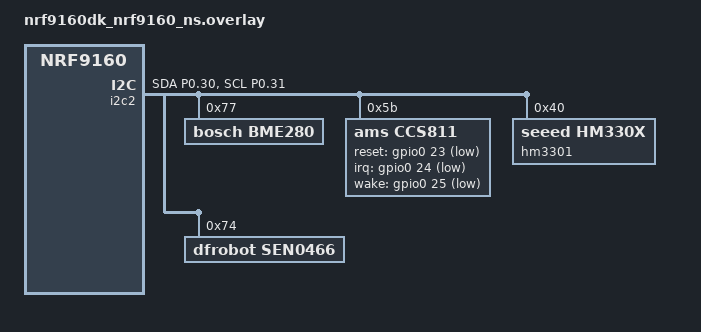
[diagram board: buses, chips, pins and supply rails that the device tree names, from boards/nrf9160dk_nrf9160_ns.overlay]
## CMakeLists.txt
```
#
# Copyright (c) 2024 Nordic Semiconductor ASA
#
# SPDX-License-Identifier: LicenseRef-Nordic-5-Clause
#

cmake_minimum_required(VERSION 3.20.0)

find_package(Zephyr REQUIRED HINTS $ENV{ZEPHYR_BASE})
project("Asset Tracker Template")

# Include files that are common for all modules
target_include_directories(app PRIVATE src/common)

zephyr_include_directories(config)

# Add main application source
target_sources(app PRIVATE src/main.c)

# Module source folders
add_subdirectory(src/modules/network)
add_subdirectory(src/cbor)

# Optional modules
add_subdirectory_ifdef(CONFIG_APP_POWER src/modules/power)
add_subdirectory_ifdef(CONFIG_APP_ENVIRONMENTAL src/modules/environmental)
add_subdirectory_ifdef(CONFIG_APP_LED src/modules/led)
add_subdirectory_ifdef(CONFIG_APP_LOCATION src/modules/location)
add_subdirectory_ifdef(CONFIG_APP_CLOUD src/modules/cloud)
```

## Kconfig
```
#
# Copyright (c) 2024 Nordic Semiconductor ASA
#
# SPDX-License-Identifier: LicenseRef-Nordic-5-Clause
#

menu "Asset Tracker Template"

rsource "src/Kconfig.main"
rsource "src/modules/network/Kconfig.network"
rsource "src/modules/cloud/Kconfig.cloud"
rsource "src/modules/location/Kconfig.location"
rsource "src/modules/environmental/Kconfig.environmental"

endmenu

menu "Zephyr Kernel"
source "Kconfig.zephyr"
endmenu
```

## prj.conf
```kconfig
#
# Copyright (c) 2024 Nordic Semiconductor ASA
#
# SPDX-License-Identifier: LicenseRef-Nordic-5-Clause
#

CONFIG_LOG=y
CONFIG_RESET_ON_FATAL_ERROR=y
CONFIG_LOG_MODE_DEFERRED=y
CONFIG_LOG_BUFFER_SIZE=4096
CONFIG_LOG_PROCESS_THREAD_STACK_SIZE=1280
CONFIG_DK_LIBRARY=y
CONFIG_ZVFS_OPEN_MAX=10

# Enable I2C and sensor subsystem for multiple sensors
CONFIG_SENSOR=y
CONFIG_I2C=y
CONFIG_BME280=y
CONFIG_CCS811=y
# CONFIG_CCS811_ENV_COMPENSATION=y
CONFIG_HM330X=y
CONFIG_SEN0466=y

# TFM logging over uart0
CONFIG_TFM_LOG_LEVEL_SILENCE=n
CONFIG_TFM_SECURE_UART0=y
CONFIG_TFM_SECURE_UART_SHARE_INSTANCE=y
CONFIG_TFM_EXCEPTION_INFO_DUMP=y
CONFIG_TFM_SPM_LOG_LEVEL_DEBUG=y

# Heap and stacks
CONFIG_MAIN_STACK_SIZE=2560
# Extended AT host/monitor stack/heap sizes since some nrf_cloud credentials are longer than 1024 bytes.
CONFIG_AT_MONITOR_HEAP_SIZE=2176
CONFIG_HEAP_MEM_POOL_SIZE=10000
CONFIG_HEAP_MEM_POOL_IGNORE_MIN=y
CONFIG_SYSTEM_WORKQUEUE_STACK_SIZE=1280

# Enable Networking and Connection Manager.
CONFIG_NETWORKING=y
CONFIG_NET_SOCKETS=y
CONFIG_NET_SOCKETS_OFFLOAD=y
CONFIG_POSIX_API=y

# Enable LTE Connectivity using Connection Manager
CONFIG_NET_IPV4=y
CONFIG_NET_IPV6=y
CONFIG_NET_IPV6_NBR_CACHE=n
CONFIG_NET_IPV6_MLD=n
CONFIG_NET_CONNECTION_MANAGER=y
CONFIG_NET_CONNECTION_MANAGER_MONITOR_STACK_SIZE=512
CONFIG_NRF_MODEM_LIB_NET_IF=y
CONFIG_NRF_MODEM_LIB_NET_IF_AUTO_DOWN=y
CONFIG_NRF_MODEM_LIB_NET_IF_DOWN_DEFAULT_LTE_DISCONNECT=y

# Enable Link Controller modules
CONFIG_LTE_LC_PSM_MODULE=y
CONFIG_LTE_LC_EDRX_MODULE=y
CONFIG_LTE_LC_CONN_EVAL_MODULE=y

# Enable PSM (Power Saving Mode)
CONFIG_LTE_LC_WORKQUEUE_STACK_SIZE=768
CONFIG_LTE_PSM_REQ=y
CONFIG_LTE_PROPRIETARY_PSM_REQ=y
CONFIG_LTE_PSM_REQ_FORMAT_SECONDS=y
# Set Requested TAU to a large value. If the network does not support this value,
# it will typically use the largest supported value. This value should be larger
# than the default update interval (1 hour).
CONFIG_LTE_PSM_REQ_RPTAU_SECONDS=7200

# Set the PSM Requested Active Time to a low number. Since we are constantly polling for
# downlink data, there is no need for prolonged active paging after the RRC connection release.
CONFIG_LTE_PSM_REQ_RAT_SECONDS=6

# Enable eDRX (Extended Discontinuous Reception)
CONFIG_LTE_EDRX_REQ=y
# "0000" is 5.12 s
CONFIG_LTE_EDRX_REQ_VALUE_LTE_M="0000"
CONFIG_LTE_EDRX_REQ_VALUE_NBIOT="0000"

# Modem library
CONFIG_NRF_MODEM_LIB=y

# AT commands interface
CONFIG_UART_INTERRUPT_DRIVEN=y
CONFIG_SHELL=y
CONFIG_SHELL_WILDCARD=n
CONFIG_SHELL_STACK_SIZE=2048
CONFIG_SHELL_CMD_BUFF_SIZE=2048
CONFIG_SHELL_BACKEND_SERIAL_RX_RING_BUFFER_SIZE=2048
CONFIG_AT_SHELL=y
CONFIG_LTE_SHELL=n

# nRF Cloud
CONFIG_NRF_CLOUD=y
CONFIG_NRF_CLOUD_COAP=y
CONFIG_NRF_CLOUD_COAP_DISCONNECT_ON_FAILED_REQUEST=y
CONFIG_MODEM_JWT=y
CONFIG_NRF_CLOUD_PRINT_DETAILS=n
CONFIG_NRF_CLOUD_COAP_DOWNLOADS=y

# Downloader support (required by NRF_CLOUD_COAP_DOWNLOADS)
CONFIG_DOWNLOADER=y

# On initial connection to the cloud, add info sections to the shadow
CONFIG_MODEM_INFO=y
CONFIG_MODEM_INFO_ADD_DEVICE=y
CONFIG_NRF_CLOUD_SEND_DEVICE_STATUS=y
CONFIG_NRF_CLOUD_SEND_DEVICE_STATUS_NETWORK=y
CONFIG_NRF_CLOUD_SEND_DEVICE_STATUS_SIM=y

# Date Time lib - Used by PGPS and main application
CONFIG_DATE_TIME=y
CONFIG_DATE_TIME_THREAD_STACK_SIZE=576

# Credentials
CONFIG_NRF_CLOUD_CLIENT_ID_SRC_IMEI=y       # Use IMEI for Client ID as INTERNAL_UUID requires nRF91x1
CONFIG_NRF_CLOUD_CHECK_CREDENTIALS=y
CONFIG_NRF_CLOUD_CREDENTIALS_MGMT_MODEM=y

# COAP client
CONFIG_COAP_MAX_RETRANSMIT=5
CONFIG_COAP_INIT_ACK_TIMEOUT_MS=5000
# Set CoAP therad to same priority as other modules
CONFIG_COAP_CLIENT_THREAD_PRIORITY=14
CONFIG_COAP_CLIENT_BLOCK_SIZE=1024
CONFIG_COAP_CLIENT_MESSAGE_SIZE=1024
CONFIG_COAP_CLIENT_STACK_SIZE=1280
CONFIG_COAP_EXTENDED_OPTIONS_LEN_VALUE=192

# needed for processing floats
CONFIG_PICOLIBC=y
CONFIG_FPU=y

# Zbus
CONFIG_ZBUS=y
CONFIG_ZBUS_MSG_SUBSCRIBER=y
CONFIG_ZBUS_MSG_SUBSCRIBER_NET_BUF_POOL_SIZE=64
CONFIG_ZBUS_CHANNEL_NAME=y

# Zephyr State Machine Framework
CONFIG_SMF=y
CONFIG_SMF_ANCESTOR_SUPPORT=y
CONFIG_SMF_INITIAL_TRANSITION=y

# Location
CONFIG_LOCATION=y
CONFIG_LOCATION_DATA_DETAILS=y
CONFIG_LOCATION_METHOD_GNSS=y
CONFIG_LOCATION_METHOD_CELLULAR=y
CONFIG_LOCATION_SERVICE_EXTERNAL=y
CONFIG_LOCATION_REQUEST_DEFAULT_GNSS_TIMEOUT=60000
CONFIG_LOCATION_REQUEST_DEFAULT_CELLULAR_TIMEOUT=30000
CONFIG_LOCATION_REQUEST_DEFAULT_TIMEOUT=120000
CONFIG_LOCATION_REQUEST_DEFAULT_CELLULAR_CELL_COUNT=3
CONFIG_LOCATION_REQUEST_DEFAULT_GNSS_VISIBILITY_DETECTION=y
CONFIG_LTE_NETWORK_MODE_LTE_M_NBIOT_GPS=y
CONFIG_NRF_CLOUD_AGNSS=y

# Not for LTE throughput testing
CONFIG_NRF_MODEM_LIB_SHMEM_TX_SIZE=4096
CONFIG_NRF_MODEM_LIB_SHMEM_RX_SIZE=4096

# For nRF9160 the default is socket interface
CONFIG_NET_DEFAULT_IF_ETHERNET=y
CONFIG_MBEDTLS=n

# Networking
CONFIG_NET_L2_ETHERNET=y
CONFIG_NET_NATIVE=y
CONFIG_NET_IPV4=y
CONFIG_NET_DHCPV4=y
CONFIG_NET_STATISTICS=y
CONFIG_NET_STATISTICS_USER_API=y
CONFIG_NET_CONTEXT_SYNC_RECV=y

# Memory configurations
CONFIG_NET_BUF_RX_COUNT=8
CONFIG_NET_BUF_TX_COUNT=8
CONFIG_NET_PKT_RX_COUNT=1
CONFIG_NET_PKT_TX_COUNT=1
CONFIG_NET_TX_STACK_SIZE=512
CONFIG_NET_RX_STACK_SIZE=512
CONFIG_NET_TC_TX_COUNT=1
CONFIG_NET_MAX_CONTEXTS=5
CONFIG_NET_MGMT_EVENT_STACK_SIZE=1280

# Needed due to using connectivity manager
CONFIG_NET_IF_MAX_IPV6_COUNT=2
CONFIG_NET_IF_MAX_IPV4_COUNT=2

# For debugging purposes
CONFIG_THREAD_NAME=y

# Extra Logging
CONFIG_APP_LOCATION_LOG_LEVEL_DBG=y
CONFIG_APP_CLOUD_LOG_LEVEL_DBG=y
CONFIG_APP_NETWORK_LOG_LEVEL_DBG=y
CONFIG_APP_LOG_LEVEL_DBG=y
CONFIG_APP_ENVIRONMENTAL_LOG_LEVEL_DBG=y

# Task Watchdog
CONFIG_TASK_WDT=y
CONFIG_TASK_WDT_CHANNELS=8
CONFIG_TASK_WDT_MIN_TIMEOUT=10000

# Device power management
CONFIG_PM_DEVICE=y
CONFIG_PM_DEVICE_SHELL=y
```

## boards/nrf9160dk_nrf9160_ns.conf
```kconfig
#
# Copyright (c) 2025 Nordic Semiconductor ASA
#
# SPDX-License-Identifier: LicenseRef-Nordic-5-Clause
#

# Location priority order
CONFIG_LOCATION_REQUEST_DEFAULT_METHOD_FIRST_GNSS=y
CONFIG_LOCATION_REQUEST_DEFAULT_METHOD_SECOND_CELLULAR=y
```

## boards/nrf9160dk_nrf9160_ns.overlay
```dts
/*
 * Copyright (c) 2025 Natalia Pluta
 * SPDX-License-Identifier: Apache-2.0
 */

&pinctrl {
	i2c2_default_alt: i2c2_default_alt {
		group1 {
			psels = <NRF_PSEL(TWIM_SDA, 0, 30)>,
					<NRF_PSEL(TWIM_SCL, 0, 31)>;
		};
	};

	i2c2_sleep_alt: i2c2_sleep_alt {
		group1 {
			psels = <NRF_PSEL(TWIM_SDA, 0, 30)>,
					<NRF_PSEL(TWIM_SCL, 0, 31)>;
			low-power-enable;
		};
	};
};

&i2c2 {
	status = "okay";
	pinctrl-0 = <&i2c2_default_alt>;
	pinctrl-1 = <&i2c2_sleep_alt>;
	pinctrl-names = "default", "sleep";
	
	bme280: bme280@77 {
		compatible = "bosch,bme280";
		reg = <0x77>;
		status = "okay";
	};
	
	ccs811: ccs811@5b {
		compatible = "ams,ccs811";
		reg = <0x5b>;
		status = "okay";
		reset-gpios = <&gpio0 23 GPIO_ACTIVE_LOW>;
		irq-gpios = <&gpio0 24 GPIO_ACTIVE_LOW>;
		wake-gpios = <&gpio0 25 GPIO_ACTIVE_LOW>;
	};
	
	hm3301: hm3301@40 {
		compatible = "seeed,hm330x";
		reg = <0x40>;
		status = "okay";
	};

	sen0466: sen0466@74 {
		compatible = "dfrobot,sen0466";
		reg = <0x74>;
		status = "okay";
	};
};
```

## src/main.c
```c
/*
 * Copyright (c) 2024 Nordic Semiconductor ASA
 *
 * SPDX-License-Identifier: LicenseRef-Nordic-5-Clause
 */

#include <zephyr/kernel.h>
#include <zephyr/logging/log.h>
#include <zephyr/zbus/zbus.h>
#include <zephyr/task_wdt/task_wdt.h>
#include <zephyr/smf.h>

#include "app_common.h"
#include "network.h"
#include "cloud.h"
#include "location.h"

#if defined(CONFIG_APP_LED)
#include "led.h"
#endif /* CONFIG_APP_LED */

#if defined(CONFIG_APP_ENVIRONMENTAL)
#include "environmental.h"
#endif /* CONFIG_APP_ENVIRONMENTAL */

/* Register log module */
LOG_MODULE_REGISTER(main, CONFIG_APP_LOG_LEVEL);

/* Register subscriber */
ZBUS_MSG_SUBSCRIBER_DEFINE(main_subscriber);

ZBUS_CHAN_DEFINE(TIMER_CHAN, int, NULL, NULL, ZBUS_OBSERVERS_EMPTY, ZBUS_MSG_INIT(0));

/* Define the channels that the module subscribes to, their associated message types
 * and the subscriber that will receive the messages on the channel.
 * We use the X-macros to make the code more maintainable.
 */
#define CHANNEL_LIST(X)                                                                            \
	X(CLOUD_CHAN, struct cloud_msg)                                                            \
	X(NETWORK_CHAN, struct network_msg)                                                        \
	X(LOCATION_CHAN, enum location_msg_type)                                                   \
	X(TIMER_CHAN, int)

/* Calculate the maximum message size from the list of channels */
#define MAX_MSG_SIZE MAX_MSG_SIZE_FROM_LIST(CHANNEL_LIST)

/* Add main_subscriber as observer to all the channels in the list. */
#define ADD_OBSERVERS(_chan, _type) ZBUS_CHAN_ADD_OBS(_chan, main_subscriber, 0);

/*
 * Expand to a call to ZBUS_CHAN_ADD_OBS for each channel in the list.
 * Example: ZBUS_CHAN_ADD_OBS(CLOUD_CHAN, main_subscriber, 0);
 */
CHANNEL_LIST(ADD_OBSERVERS)

/* Forward declarations */
static void timer_work_fn(struct k_work *work);

/* Delayable work used to schedule triggers */
static K_WORK_DELAYABLE_DEFINE(trigger_work, timer_work_fn);

/* Forward declarations of state handlers */
static void running_entry(void *o);
static void running_run(void *o);

static void triggering_entry(void *o);
static void triggering_run(void *o);

static void sample_data_entry(void *o);
static void sample_data_run(void *o);

static void wait_for_trigger_entry(void *o);
static void wait_for_trigger_run(void *o);
static void wait_for_trigger_exit(void *o);

static void idle_entry(void *o);
static void idle_run(void *o);

enum state {
	/* Normal operation */
	STATE_RUNNING,
	/* Disconnected from the cloud, no triggers are sent */
	STATE_IDLE,
	/* Triggers are periodically sent at a configured interval */
	STATE_TRIGGERING,
	/* Requesting data samples from relevant modules.
	 * Location data is requested first, upon state entry.
	 * After location data is received, the other modules are polled.
	 */
	STATE_SAMPLE_DATA,
	/* Wait for timer or button press to trigger the next sample */
	STATE_WAIT_FOR_TRIGGER,
};

/* State object for the app module.
 * Used to transfer data between state changes.
 */
struct main_state {
	/* This must be first */
	struct smf_ctx ctx;

	/* Last channel type that a message was received on */
	const struct zbus_channel *chan;

	/* Last received message */
	uint8_t msg_buf[MAX_MSG_SIZE];

	/* Trigger interval */
	uint32_t interval_sec;

	/* Cloud connection status */
	bool connected;

	/* Start time of the most recent sampling. This is used to calculate the correct
	 * time when scheduling the next sampling trigger.
	 */
	uint32_t sample_start_time;
};

/* Construct state table */
static const struct smf_state states[] = {
	[STATE_RUNNING] =
		SMF_CREATE_STATE(running_entry, running_run, NULL, NULL, &states[STATE_IDLE]),
	[STATE_IDLE] = SMF_CREATE_STATE(idle_entry, idle_run, NULL, &states[STATE_RUNNING], NULL),
	[STATE_TRIGGERING] = SMF_CREATE_STATE(triggering_entry, triggering_run, NULL,
					      &states[STATE_RUNNING], &states[STATE_SAMPLE_DATA]),
	[STATE_SAMPLE_DATA] = SMF_CREATE_STATE(sample_data_entry, sample_data_run, NULL,
					       &states[STATE_TRIGGERING], NULL),
	[STATE_WAIT_FOR_TRIGGER] =
		SMF_CREATE_STATE(wait_for_trigger_entry, wait_for_trigger_run,
				 wait_for_trigger_exit, &states[STATE_TRIGGERING], NULL),
};

/* Static helper function */

static void task_wdt_callback(int channel_id, void *user_data)
{
	LOG_ERR("Watchdog expired, Channel: %d, Thread: %s", channel_id,
		k_thread_name_get((k_tid_t)user_data));

	SEND_FATAL_ERROR_WATCHDOG_TIMEOUT();
}

static void sensor_and_poll_triggers_send(void)
{
	int err;
	struct cloud_msg cloud_msg = {.type = CLOUD_POLL_SHADOW};

	err = zbus_chan_pub(&CLOUD_CHAN, &cloud_msg, K_SECONDS(1));
	if (err) {
		LOG_ERR("zbus_chan_pub shadow trigger, error: %d", err);
		SEND_FATAL_ERROR();
		return;
	}

#if defined(CONFIG_APP_REQUEST_NETWORK_QUALITY)
	struct network_msg network_msg = {
		.type = NETWORK_QUALITY_SAMPLE_REQUEST,
	};

	err = zbus_chan_pub(&NETWORK_CHAN, &network_msg, K_SECONDS(1));
	if (err) {
		LOG_ERR("zbus_chan_pub, error: %d", err);
		SEND_FATAL_ERROR();
		return;
	}
#endif /* CONFIG_APP_REQUEST_NETWORK_QUALITY */

#if defined(CONFIG_APP_ENVIRONMENTAL)
	struct environmental_msg environmental_msg = {
		.type = ENVIRONMENTAL_SENSOR_SAMPLE_REQUEST,
	};

	err = zbus_chan_pub(&ENVIRONMENTAL_CHAN, &environmental_msg, K_SECONDS(1));
	if (err) {
		LOG_ERR("zbus_chan_pub, error: %d", err);
		SEND_FATAL_ERROR();
		return;
	}
#endif /* CONFIG_APP_ENVIRONMENTAL */
}

/* Delayable work used to send messages on the TIMER_CHAN */
static void timer_work_fn(struct k_work *work)
{
	int err;
	int dummy = 0;

	ARG_UNUSED(work);

	err = zbus_chan_pub(&TIMER_CHAN, &dummy, K_SECONDS(1));
	if (err) {
		LOG_ERR("zbus_chan_pub, error: %d", err);
		SEND_FATAL_ERROR();
		return;
	}
}

/* Zephyr State Machine framework handlers */

/* STATE_RUNNING */

static void running_entry(void *o)
{
	const struct main_state *state_object = (const struct main_state *)o;

	LOG_DBG("%s", __func__);

	if (state_object->connected) {
		smf_set_state(SMF_CTX(state_object), &states[STATE_TRIGGERING]);
		return;
	}

	smf_set_state(SMF_CTX(state_object), &states[STATE_IDLE]);
}

static void running_run(void *o)
{
	LOG_INF("%s", __func__);
}

/* STATE_IDLE */

static void idle_entry(void *o)
{
	ARG_UNUSED(o);

	LOG_DBG("%s", __func__);

	(void)k_work_cancel_delayable(&trigger_work);
}

static void idle_run(void *o)
{
	struct main_state *state_object = o;

	if (state_object->chan == &CLOUD_CHAN) {
		const struct cloud_msg *msg = MSG_TO_CLOUD_MSG_PTR(state_object->msg_buf);

		if (msg->type == CLOUD_CONNECTED) {
			state_object->connected = true;
			smf_set_state(SMF_CTX(state_object), &states[STATE_TRIGGERING]);
			return;
		}
	}
}

/* STATE_CONNECTED */

static void triggering_entry(void *o)
{
	int err;

	ARG_UNUSED(o);

	LOG_DBG("%s", __func__);

	err = k_work_reschedule(&trigger_work, K_NO_WAIT);
	if (err < 0) {
		LOG_ERR("k_work_reschedule, error: %d", err);
		SEND_FATAL_ERROR();
		return;
	}
}

static void triggering_run(void *o)
{
	struct main_state *state_object = o;

	if (state_object->chan == &CLOUD_CHAN) {
		const struct cloud_msg *msg = MSG_TO_CLOUD_MSG_PTR(state_object->msg_buf);

		if (msg->type == CLOUD_DISCONNECTED) {
			state_object->connected = false;
			smf_set_state(SMF_CTX(state_object), &states[STATE_IDLE]);
			return;
		}
	}
}

/* STATE_SAMPLE_DATA */

static void sample_data_entry(void *o)
{
	int err;
	enum location_msg_type location_msg = LOCATION_SEARCH_TRIGGER;
	struct main_state *state_object = (struct main_state *)o;

	LOG_DBG("%s", __func__);

#if defined(CONFIG_APP_LED)
	/* Green pattern during active sampling */
	struct led_msg led_msg = {
		.type = LED_RGB_SET,
		.red = 0,
		.green = 55,
		.blue = 0,
		.duration_on_msec = 250,
		.duration_off_msec = 2000,
		.repetitions = 10,
	};

	err = zbus_chan_pub(&LED_CHAN, &led_msg, K_SECONDS(1));
	if (err) {
		LOG_ERR("zbus_chan_pub, error: %d", err);
		SEND_FATAL_ERROR();
		return;
	}
#endif /* CONFIG_APP_LED */

	/* Record the start time of sampling */
	state_object->sample_start_time = k_uptime_seconds();

	err = zbus_chan_pub(&LOCATION_CHAN, &location_msg, K_SECONDS(1));
	if (err) {
		LOG_ERR("zbus_chan_pub data sample trigger, error: %d", err);
		SEND_FATAL_ERROR();
		return;
	}
}

static void sample_data_run(void *o)
{
	const struct main_state *state_object = (const struct main_state *)o;

	if (state_object->chan == &LOCATION_CHAN) {
		enum location_msg_type msg = MSG_TO_LOCATION_TYPE(state_object->msg_buf);

		if (msg == LOCATION_SEARCH_DONE) {
			sensor_and_poll_triggers_send();
			smf_set_state(SMF_CTX(state_object), &states[STATE_WAIT_FOR_TRIGGER]);
			return;
		}
	}

	if (state_object->chan == &TIMER_CHAN) {
		smf_set_handled(SMF_CTX(state_object));
		return;
	}
}

/* STATE_WAIT_FOR_TRIGGER */

static void wait_for_trigger_entry(void *o)
{
	int err;
	const struct main_state *state_object = (const struct main_state *)o;
	uint32_t time_elapsed = k_uptime_seconds() - state_object->sample_start_time;
	uint32_t time_remaining;

	if (time_elapsed > state_object->interval_sec) {
		LOG_WRN("Sampling took longer than the interval, skipping next trigger");
		time_remaining = 0;
	} else {
		time_remaining = state_object->interval_sec - time_elapsed;
	}

	LOG_DBG("%s", __func__);

	LOG_DBG("Next trigger in %d seconds", time_remaining);

	(void)k_work_cancel_delayable(&trigger_work);
	err = k_work_reschedule(&trigger_work, K_SECONDS(time_remaining));
	if (err < 0) {
		LOG_ERR("k_work_reschedule, error: %d", err);
		SEND_FATAL_ERROR();
	}
}

static void wait_for_trigger_run(void *o)
{
	const struct main_state *state_object = (const struct main_state *)o;

	if (state_object->chan == &TIMER_CHAN) {
		LOG_DBG("Timer trigger received");
		smf_set_state(SMF_CTX(state_object), &states[STATE_SAMPLE_DATA]);
		return;
	}
}

static void wait_for_trigger_exit(void *o)
{
	ARG_UNUSED(o);

	LOG_DBG("%s", __func__);

	(void)k_work_cancel_delayable(&trigger_work);
}

int main(void)
{
	int err;
	int task_wdt_id;
	const uint32_t wdt_timeout_ms = (CONFIG_APP_WATCHDOG_TIMEOUT_SECONDS * MSEC_PER_SEC);
	const uint32_t execution_time_ms =
		(CONFIG_APP_MSG_PROCESSING_TIMEOUT_SECONDS * MSEC_PER_SEC);
	const k_timeout_t zbus_wait_ms = K_MSEC(wdt_timeout_ms - execution_time_ms);
	struct main_state main_state = {0};

	main_state.interval_sec = CONFIG_APP_MODULE_TRIGGER_TIMEOUT_SECONDS;

	LOG_DBG("Main has started");

	task_wdt_id = task_wdt_add(wdt_timeout_ms, task_wdt_callback, (void *)k_current_get());
	if (task_wdt_id < 0) {
		LOG_ERR("Failed to add task to watchdog: %d", task_wdt_id);
		SEND_FATAL_ERROR();
		return -EFAULT;
	}

	smf_set_initial(SMF_CTX(&main_state), &states[STATE_RUNNING]);

	while (1) {
		err = task_wdt_feed(task_wdt_id);
		if (err) {
			LOG_ERR("task_wdt_feed, error: %d", err);
			SEND_FATAL_ERROR();

			return err;
		}

		err = zbus_sub_wait_msg(&main_subscriber, &main_state.chan, main_state.msg_buf,
					zbus_wait_ms);
		if (err == -ENOMSG) {
			continue;
		} else if (err) {
			LOG_ERR("zbus_sub_wait_msg, error: %d", err);
			SEND_FATAL_ERROR();

			return err;
		}

		err = smf_run_state(SMF_CTX(&main_state));
		if (err) {
			LOG_ERR("smf_run_state(), error: %d", err);
			SEND_FATAL_ERROR();

			return err;
		}
	}
}
```
